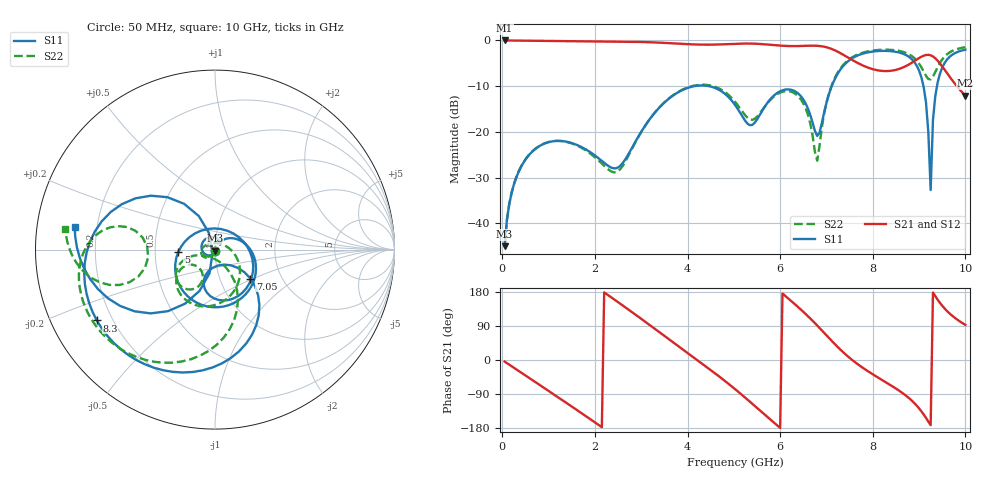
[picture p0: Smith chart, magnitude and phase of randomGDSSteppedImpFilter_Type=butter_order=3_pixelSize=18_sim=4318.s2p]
! freq	dB(S11)	phase(S11)	dB(S12)	phase(S12)
!  dB(S21)	phase(S21)	dB(S22)	phase(S22)
!S-par simulation data
#  GHz  S  DB  R 50
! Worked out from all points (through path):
!   200 points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, 50 MHz to 10 GHz, reference 50 ohm
!   highest |S21| = -0.01 dB at 50 MHz (marker M1); lowest = -12.1 dB at 10 GHz (marker M2)
!   lowest |S11| = -45.0 dB at 50 MHz (marker M3), VSWR 1.01, Z = 50 - j0.561 ohm
!   |S11| at or under -10 dB: start of sweep to 4.152 GHz; 4.458 GHz to 7.115 GHz (2.657 GHz wide, 45.9 % of centre); 9.094 GHz to 9.387 GHz (292.7 MHz wide, 3.17 % of centre)
!   |S22| runs from -45.0 to -1.5 dB; largest |S21 - S12| = 0
!   S11 on the Smith chart (normalised r, x): 50 MHz: 1.00, -0.01; 5 GHz: 0.66, -0.02; 7.05 GHz: 1.40, -0.48; 8.3 GHz: 0.14, -0.27; 10 GHz: 0.12, +0.08
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0.05  -45.02 -87.2  -0.01 -4.1  -0.01 -4.1  -44.96 -85.4
0.55  -25.40 -145.2  -0.08 -44.9  -0.08 -44.9  -25.34 -124.5
1.15  -22.01 151.6  -0.15 -93.9  -0.15 -93.9  -21.99 -160.8
1.75  -23.53 85.4  -0.20 -143.6  -0.20 -143.6  -23.73 165.9
2.5  -27.80 47.9  -0.26 152.7  -0.26 152.7  -28.62 72.0
3.4  -14.59 4.5  -0.49 72.8  -0.49 72.8  -14.55 -41.9
4.2  -9.92 -76.4  -0.90 0.8  -0.90 0.8  -9.79 -102.7
5  -13.76 -176.2  -0.75 -74.2  -0.75 -74.2  -13.12 -150.2
5.05  -14.47 174.7  -0.73 -79.2  -0.73 -79.2  -13.73 -151.1
5.9  -11.77 -37.7  -1.06 -168.8  -1.06 -168.8  -12.01 -118.9
6.7  -17.97 -107.2  -1.15 103.6  -1.15 103.6  -20.80 -160.3
6.8  -20.89 -79.9  -1.18 91.1  -1.18 91.1  -26.31 -106.2
7.05  -11.87 -39.2  -1.65 58.7  -1.65 58.7  -11.73 -61.6
7.65  -3.40 -95.9  -4.81 -8.9  -4.81 -8.9  -3.18 -114.6
8.3  -2.30 -149.1  -6.71 -60.0  -6.71 -60.0  -2.04 -155.9
8.35  -2.32 -153.0  -6.68 -63.7  -6.68 -63.7  -2.05 -158.7
9.05  -8.08 132.2  -3.57 -135.4  -3.57 -135.4  -5.90 165.6
9.15  -13.63 115.8  -3.19 -152.9  -3.19 -152.9  -7.77 170.5
9.25  -32.74 -126.3  -3.26 -172.2  -3.26 -172.2  -8.52 -173.4
9.3  -17.37 -103.1  -3.52 178.0  -3.52 178.0  -7.90 -165.5
9.4  -9.24 -119.0  -4.43 159.4  -4.43 159.4  -5.85 -159.1
10  -2.02 170.7  -12.10 92.7  -12.10 92.7  -1.49 172.1
